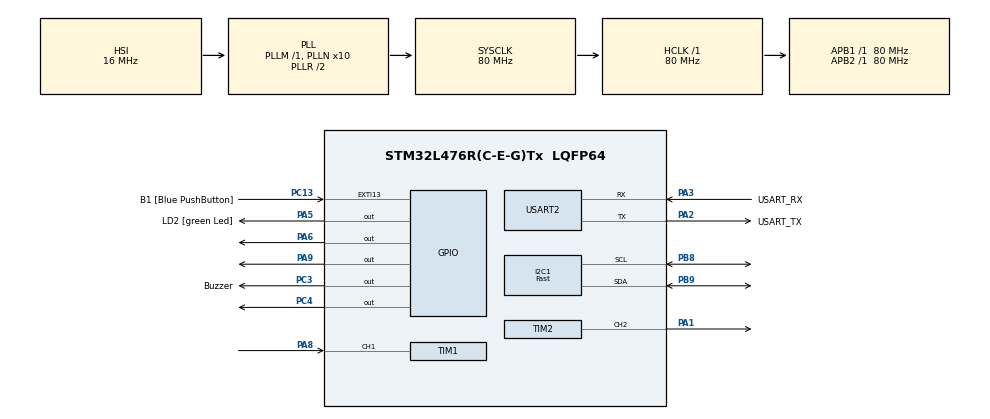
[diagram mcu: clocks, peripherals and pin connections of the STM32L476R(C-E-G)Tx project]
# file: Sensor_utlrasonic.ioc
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I2C1.I2C_Speed_Mode=I2C_Fast
I2C1.Timing=0x00702991
Mcu.Family=STM32L4
Mcu.Name=STM32L476R(C-E-G)Tx
Mcu.Package=LQFP64
NVIC.PriorityGroup=NVIC_PRIORITYGROUP_4
NVIC.TIM1_CC_IRQn=true\:0\:0\:false\:false\:true\:true\:true\:true
PA1.Signal=S_TIM2_CH2
PA13\ (JTMS-SWDIO).GPIO_Label=TMS
PA13\ (JTMS-SWDIO).Mode=Serial_Wire
PA13\ (JTMS-SWDIO).Signal=SYS_JTMS-SWDIO
PA14\ (JTCK-SWCLK).GPIO_Label=TCK
PA14\ (JTCK-SWCLK).Mode=Serial_Wire
PA14\ (JTCK-SWCLK).Signal=SYS_JTCK-SWCLK
PA2.GPIO_Label=USART_TX
PA2.GPIO_Mode=GPIO_MODE_AF_PP
PA2.GPIO_PuPd=GPIO_NOPULL
PA2.GPIO_Speed=GPIO_SPEED_FREQ_VERY_HIGH
PA2.Mode=Asynchronous
PA2.Signal=USART2_TX
PA3.GPIO_Label=USART_RX
PA3.GPIO_Mode=GPIO_MODE_AF_PP
PA3.GPIO_PuPd=GPIO_NOPULL
PA3.GPIO_Speed=GPIO_SPEED_FREQ_VERY_HIGH
PA3.Mode=Asynchronous
PA3.Signal=USART2_RX
PA5.GPIO_Label=LD2 [green Led]
PA5.GPIO_ModeDefaultOutputPP=GPIO_MODE_OUTPUT_PP
PA5.GPIO_PuPd=GPIO_NOPULL
PA5.GPIO_Speed=GPIO_SPEED_FREQ_LOW
PA5.Signal=GPIO_Output
PA6.Signal=GPIO_Output
PA8.Signal=S_TIM1_CH1
PA9.Signal=GPIO_Output
PB3\ (JTDO-TRACESWO).GPIO_Label=SWO
PB3\ (JTDO-TRACESWO).Signal=SYS_JTDO-SWO
PB8.Mode=I2C
PB8.Signal=I2C1_SCL
PB9.Mode=I2C
PB9.Signal=I2C1_SDA
PC13.GPIO_Label=B1 [Blue PushButton]
PC13.GPIO_ModeDefaultEXTI=GPIO_MODE_IT_FALLING
PC13.GPIO_PuPd=GPIO_NOPULL
PC13.Signal=GPXTI13
PC14-OSC32_IN\ (PC14).Signal=RCC_OSC32_IN
PC15-OSC32_OUT\ (PC15).Signal=RCC_OSC32_OUT
PC3.GPIO_Label=Buzzer
PC3.Signal=GPIO_Output
PC4.Signal=GPIO_Output
PH0-OSC_IN\ (PH0).Mode=HSE-External-Oscillator
PH0-OSC_IN\ (PH0).Signal=RCC_OSC_IN
PH1-OSC_OUT\ (PH1).Mode=HSE-External-Oscillator
PH1-OSC_OUT\ (PH1).Signal=RCC_OSC_OUT
ProjectManager.HeapSize=0x200
ProjectManager.StackSize=0x400
ProjectManager.TargetToolchain=STM32CubeIDE
RCC.ADCFreq_Value=64000000
RCC.AHBFreq_Value=80000000
RCC.APB1Freq_Value=80000000
RCC.APB1TimFreq_Value=80000000
RCC.APB2Freq_Value=80000000
RCC.APB2TimFreq_Value=80000000
RCC.CortexFreq_Value=80000000
RCC.HCLKFreq_Value=80000000
RCC.HSE_VALUE=8000000
RCC.HSI_VALUE=16000000
RCC.LSE_VALUE=32768
RCC.MSI_VALUE=4000000
RCC.PLLN=10
RCC.PLLSourceVirtual=RCC_PLLSOURCE_HSI
RCC.PREFETCH_ENABLE=1
RCC.SYSCLKFreq_VALUE=80000000
RCC.SYSCLKSource=RCC_SYSCLKSOURCE_PLLCLK
RCC.USBFreq_Value=64000000
RCC.VCOOutputFreq_Value=160000000
SH.S_TIM1_CH1.0=TIM1_CH1,Input_Capture1_from_TI1
SH.S_TIM2_CH2.0=TIM2_CH2,PWM Generation2 CH2
TIM1.Channel-Input_Capture1_from_TI1=TIM_CHANNEL_1
TIM1.Period=0xffff-1
TIM1.Prescaler=80-1
TIM2.Channel-PWM\ Generation2\ CH2=TIM_CHANNEL_2
TIM2.Period=20
TIM2.Prescaler=80-1
USART2.VirtualMode-Asynchronous=VM_ASYNC
VP_TIM2_VS_ClockSourceINT.Mode=Internal
board=NUCLEO-L476RG

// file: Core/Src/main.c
/* USER CODE BEGIN Header */
/**
 ******************************************************************************
 * @file           : main.c
 * @brief          : Main program body
 ******************************************************************************
 * @attention
 *
 * Copyright (c) 2022 STMicroelectronics.
 * All rights reserved.
 *
 * This software is licensed under terms that can be found in the LICENSE file
 * in the root directory of this software component.
 * If no LICENSE file comes with this software, it is provided AS-IS.
 *
 ******************************************************************************
 */
/* USER CODE END Header */
#include "main.h"
#include "fonts.h"
#include "ssd1306.h"
#include "stdio.h"

I2C_HandleTypeDef hi2c1;

TIM_HandleTypeDef htim1;
TIM_HandleTypeDef htim2;

UART_HandleTypeDef huart2;

/* USER CODE BEGIN PV */

#define TRIG_PIN GPIO_PIN_9
#define TRIG_PORT GPIOA
#define ECHO_PIN GPIO_PIN_8
#define ECHO_PORT GPIOA
uint32_t pMillis;
uint32_t Value1 = 0;
uint32_t Value2 = 0;
uint16_t Distance  = 0;  // cm
char strCopy[15];

/* USER CODE END PV */

void SystemClock_Config(void);
static void MX_GPIO_Init(void);
static void MX_USART2_UART_Init(void);
static void MX_I2C1_Init(void);
static void MX_TIM1_Init(void);
static void MX_TIM2_Init(void);

int main(void)
{

  /* MCU Configuration--------------------------------------------------------*/

  /* Reset of all peripherals, Initializes the Flash interface and the Systick. */
  HAL_Init();

  /* Configure the system clock */
  SystemClock_Config();

  /* Initialize all configured peripherals */
  MX_GPIO_Init();
  MX_USART2_UART_Init();
  MX_I2C1_Init();
  MX_TIM1_Init();
  MX_TIM2_Init();
  /* USER CODE BEGIN 2 */
  HAL_TIM_Base_Start(&htim1);
  HAL_TIM_PWM_Start(&htim2, TIM_CHANNEL_2);
  HAL_GPIO_WritePin(TRIG_PORT, TRIG_PIN, GPIO_PIN_RESET);  // pull the TRIG pin low
  SSD1306_Init();

  /* USER CODE END 2 */

  /* Infinite loop */
  /* USER CODE BEGIN WHILE */
  while (1)
  {

	    HAL_GPIO_WritePin(TRIG_PORT, TRIG_PIN, GPIO_PIN_SET);  // pull the TRIG pin HIGH
	    __HAL_TIM_SET_COUNTER(&htim1, 0);
	    while (__HAL_TIM_GET_COUNTER (&htim1) < 10);  // wait for 10 us
	    HAL_GPIO_WritePin(TRIG_PORT, TRIG_PIN, GPIO_PIN_RESET);  // pull the TRIG pin low

	    pMillis = HAL_GetTick(); // used this to avoid infinite while loop  (for timeout)
	    // wait for the echo pin to go high
	    while (!(HAL_GPIO_ReadPin (ECHO_PORT, ECHO_PIN)) && pMillis + 10 >  HAL_GetTick());
	    Value1 = __HAL_TIM_GET_COUNTER (&htim1);

	    pMillis = HAL_GetTick(); // used this to avoid infinite while loop (for timeout)
	    // wait for the echo pin to go low
	    while ((HAL_GPIO_ReadPin (ECHO_PORT, ECHO_PIN)) && pMillis + 50 > HAL_GetTick());
	    Value2 = __HAL_TIM_GET_COUNTER (&htim1);

	    Distance = (Value2-Value1)* 0.034/2;

		SSD1306_GotoXY(0, 0);
		SSD1306_Puts("Distancia:", &Font_11x18, 1);
		sprintf(strCopy, "%d    ", Distance);
		SSD1306_GotoXY(0, 30);
		SSD1306_Puts(strCopy, &Font_16x26, 1);
		//SSD1306_DrawCircle(80, 40, 2, 1);  //To print degree only
		SSD1306_GotoXY(55, 40);  //To print celcius
		SSD1306_Puts("Cm", &Font_11x18, 1);
		SSD1306_UpdateScreen();
		HAL_Delay(50);

		if(Distance < 5){

			HAL_GPIO_WritePin(Buzzer_GPIO_Port, Buzzer_Pin, 1);
			HAL_GPIO_WritePin(GPIOA, GPIO_PIN_6, 1);
			HAL_GPIO_WritePin(GPIOC, GPIO_PIN_4, 0);
			HAL_Delay(10);
			HAL_GPIO_WritePin(GPIOA, GPIO_PIN_6, 0);
			HAL_Delay(10);
		}else{
			HAL_GPIO_WritePin(Buzzer_GPIO_Port, Buzzer_Pin, 0);
		    HAL_GPIO_WritePin(GPIOA, GPIO_PIN_6, 0);
		    HAL_GPIO_WritePin(GPIOC, GPIO_PIN_4, 1);
		    HAL_Delay (500);
	    }

  }

    /* USER CODE END WHILE */

}

void SystemClock_Config(void)
{
  RCC_OscInitTypeDef RCC_OscInitStruct = {0};
  RCC_ClkInitTypeDef RCC_ClkInitStruct = {0};

  /** Configure the main internal regulator output voltage
  */
  if (HAL_PWREx_ControlVoltageScaling(PWR_REGULATOR_VOLTAGE_SCALE1) != HAL_OK)
  {
    Error_Handler();
  }

  /** Initializes the RCC Oscillators according to the specified parameters
  * in the RCC_OscInitTypeDef structure.
  */
  RCC_OscInitStruct.OscillatorType = RCC_OSCILLATORTYPE_HSI;
  RCC_OscInitStruct.HSIState = RCC_HSI_ON;
  RCC_OscInitStruct.HSICalibrationValue = RCC_HSICALIBRATION_DEFAULT;
  RCC_OscInitStruct.PLL.PLLState = RCC_PLL_ON;
  RCC_OscInitStruct.PLL.PLLSource = RCC_PLLSOURCE_HSI;
  RCC_OscInitStruct.PLL.PLLM = 1;
  RCC_OscInitStruct.PLL.PLLN = 10;
  RCC_OscInitStruct.PLL.PLLP = RCC_PLLP_DIV7;
  RCC_OscInitStruct.PLL.PLLQ = RCC_PLLQ_DIV2;
  RCC_OscInitStruct.PLL.PLLR = RCC_PLLR_DIV2;
  if (HAL_RCC_OscConfig(&RCC_OscInitStruct) != HAL_OK)
  {
    Error_Handler();
  }

  /** Initializes the CPU, AHB and APB buses clocks
  */
  RCC_ClkInitStruct.ClockType = RCC_CLOCKTYPE_HCLK|RCC_CLOCKTYPE_SYSCLK
                              |RCC_CLOCKTYPE_PCLK1|RCC_CLOCKTYPE_PCLK2;
  RCC_ClkInitStruct.SYSCLKSource = RCC_SYSCLKSOURCE_PLLCLK;
  RCC_ClkInitStruct.AHBCLKDivider = RCC_SYSCLK_DIV1;
  RCC_ClkInitStruct.APB1CLKDivider = RCC_HCLK_DIV1;
  RCC_ClkInitStruct.APB2CLKDivider = RCC_HCLK_DIV1;

  if (HAL_RCC_ClockConfig(&RCC_ClkInitStruct, FLASH_LATENCY_4) != HAL_OK)
  {
    Error_Handler();
  }
}

static void MX_I2C1_Init(void)
{

  hi2c1.Instance = I2C1;
  hi2c1.Init.Timing = 0x00702991;
  hi2c1.Init.OwnAddress1 = 0;
  hi2c1.Init.AddressingMode = I2C_ADDRESSINGMODE_7BIT;
  hi2c1.Init.DualAddressMode = I2C_DUALADDRESS_DISABLE;
  hi2c1.Init.OwnAddress2 = 0;
  hi2c1.Init.OwnAddress2Masks = I2C_OA2_NOMASK;
  hi2c1.Init.GeneralCallMode = I2C_GENERALCALL_DISABLE;
  hi2c1.Init.NoStretchMode = I2C_NOSTRETCH_DISABLE;
  if (HAL_I2C_Init(&hi2c1) != HAL_OK)
  {
    Error_Handler();
  }

  /** Configure Analogue filter
  */
  if (HAL_I2CEx_ConfigAnalogFilter(&hi2c1, I2C_ANALOGFILTER_ENABLE) != HAL_OK)
  {
    Error_Handler();
  }

  /** Configure Digital filter
  */
  if (HAL_I2CEx_ConfigDigitalFilter(&hi2c1, 0) != HAL_OK)
  {
    Error_Handler();
  }

}

static void MX_TIM1_Init(void)
{

  TIM_MasterConfigTypeDef sMasterConfig = {0};
  TIM_IC_InitTypeDef sConfigIC = {0};

  htim1.Instance = TIM1;
  htim1.Init.Prescaler = 80-1;
  htim1.Init.CounterMode = TIM_COUNTERMODE_UP;
  htim1.Init.Period = 0xffff-1;
  htim1.Init.ClockDivision = TIM_CLOCKDIVISION_DIV1;
  htim1.Init.RepetitionCounter = 0;
  htim1.Init.AutoReloadPreload = TIM_AUTORELOAD_PRELOAD_DISABLE;
  if (HAL_TIM_IC_Init(&htim1) != HAL_OK)
  {
    Error_Handler();
  }
  sMasterConfig.MasterOutputTrigger = TIM_TRGO_RESET;
  sMasterConfig.MasterOutputTrigger2 = TIM_TRGO2_RESET;
  sMasterConfig.MasterSlaveMode = TIM_MASTERSLAVEMODE_DISABLE;
  if (HAL_TIMEx_MasterConfigSynchronization(&htim1, &sMasterConfig) != HAL_OK)
  {
    Error_Handler();
  }
  sConfigIC.ICPolarity = TIM_INPUTCHANNELPOLARITY_RISING;
  sConfigIC.ICSelection = TIM_ICSELECTION_DIRECTTI;
  sConfigIC.ICPrescaler = TIM_ICPSC_DIV1;
  sConfigIC.ICFilter = 0;
  if (HAL_TIM_IC_ConfigChannel(&htim1, &sConfigIC, TIM_CHANNEL_1) != HAL_OK)
  {
    Error_Handler();
  }

}

static void MX_TIM2_Init(void)
{

  TIM_ClockConfigTypeDef sClockSourceConfig = {0};
  TIM_MasterConfigTypeDef sMasterConfig = {0};
  TIM_OC_InitTypeDef sConfigOC = {0};

  htim2.Instance = TIM2;
  htim2.Init.Prescaler = 80-1;
  htim2.Init.CounterMode = TIM_COUNTERMODE_UP;
  htim2.Init.Period = 20;
  htim2.Init.ClockDivision = TIM_CLOCKDIVISION_DIV1;
  htim2.Init.AutoReloadPreload = TIM_AUTORELOAD_PRELOAD_DISABLE;
  if (HAL_TIM_Base_Init(&htim2) != HAL_OK)
  {
    Error_Handler();
  }
  sClockSourceConfig.ClockSource = TIM_CLOCKSOURCE_INTERNAL;
  if (HAL_TIM_ConfigClockSource(&htim2, &sClockSourceConfig) != HAL_OK)
  {
    Error_Handler();
  }
  if (HAL_TIM_PWM_Init(&htim2) != HAL_OK)
  {
    Error_Handler();
  }
  sMasterConfig.MasterOutputTrigger = TIM_TRGO_RESET;
  sMasterConfig.MasterSlaveMode = TIM_MASTERSLAVEMODE_DISABLE;
  if (HAL_TIMEx_MasterConfigSynchronization(&htim2, &sMasterConfig) != HAL_OK)
  {
    Error_Handler();
  }
  sConfigOC.OCMode = TIM_OCMODE_PWM1;
  sConfigOC.Pulse = 0;
  sConfigOC.OCPolarity = TIM_OCPOLARITY_HIGH;
  sConfigOC.OCFastMode = TIM_OCFAST_DISABLE;
  if (HAL_TIM_PWM_ConfigChannel(&htim2, &sConfigOC, TIM_CHANNEL_2) != HAL_OK)
  {
    Error_Handler();
  }
  HAL_TIM_MspPostInit(&htim2);

}

static void MX_USART2_UART_Init(void)
{

  huart2.Instance = USART2;
  huart2.Init.BaudRate = 115200;
  huart2.Init.WordLength = UART_WORDLENGTH_8B;
  huart2.Init.StopBits = UART_STOPBITS_1;
  huart2.Init.Parity = UART_PARITY_NONE;
  huart2.Init.Mode = UART_MODE_TX_RX;
  huart2.Init.HwFlowCtl = UART_HWCONTROL_NONE;
  huart2.Init.OverSampling = UART_OVERSAMPLING_16;
  huart2.Init.OneBitSampling = UART_ONE_BIT_SAMPLE_DISABLE;
  huart2.AdvancedInit.AdvFeatureInit = UART_ADVFEATURE_NO_INIT;
  if (HAL_UART_Init(&huart2) != HAL_OK)
  {
    Error_Handler();
  }

}

static void MX_GPIO_Init(void)
{
  GPIO_InitTypeDef GPIO_InitStruct = {0};

  /* GPIO Ports Clock Enable */
  __HAL_RCC_GPIOC_CLK_ENABLE();
  __HAL_RCC_GPIOH_CLK_ENABLE();
  __HAL_RCC_GPIOA_CLK_ENABLE();
  __HAL_RCC_GPIOB_CLK_ENABLE();

  /*Configure GPIO pin Output Level */
  HAL_GPIO_WritePin(GPIOC, Buzzer_Pin|GPIO_PIN_4, GPIO_PIN_RESET);

  /*Configure GPIO pin Output Level */
  HAL_GPIO_WritePin(GPIOA, LD2_Pin|GPIO_PIN_6|GPIO_PIN_9, GPIO_PIN_RESET);

  /*Configure GPIO pin : B1_Pin */
  GPIO_InitStruct.Pin = B1_Pin;
  GPIO_InitStruct.Mode = GPIO_MODE_IT_FALLING;
  GPIO_InitStruct.Pull = GPIO_NOPULL;
  HAL_GPIO_Init(B1_GPIO_Port, &GPIO_InitStruct);

  /*Configure GPIO pins : Buzzer_Pin PC4 */
  GPIO_InitStruct.Pin = Buzzer_Pin|GPIO_PIN_4;
  GPIO_InitStruct.Mode = GPIO_MODE_OUTPUT_PP;
  GPIO_InitStruct.Pull = GPIO_NOPULL;
  GPIO_InitStruct.Speed = GPIO_SPEED_FREQ_LOW;
  HAL_GPIO_Init(GPIOC, &GPIO_InitStruct);

  /*Configure GPIO pins : LD2_Pin PA6 PA9 */
  GPIO_InitStruct.Pin = LD2_Pin|GPIO_PIN_6|GPIO_PIN_9;
  GPIO_InitStruct.Mode = GPIO_MODE_OUTPUT_PP;
  GPIO_InitStruct.Pull = GPIO_NOPULL;
  GPIO_InitStruct.Speed = GPIO_SPEED_FREQ_LOW;
  HAL_GPIO_Init(GPIOA, &GPIO_InitStruct);

}

void Error_Handler(void)
{
	__disable_irq();
	while (1) {
	}
}
